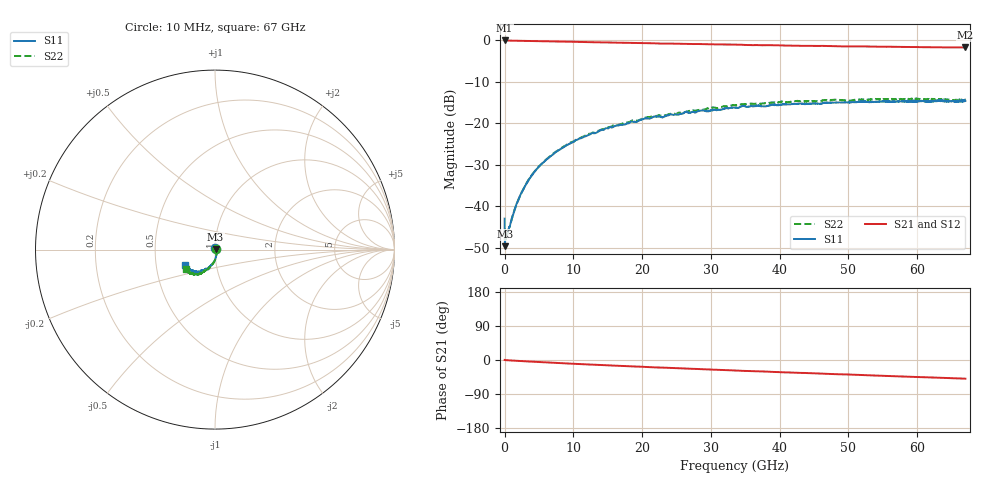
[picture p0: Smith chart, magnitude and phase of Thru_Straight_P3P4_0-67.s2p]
!Keysight Technologies,N5247B,MY61256062,A.16.20.04
!Date: Saturday, November 29, 2025 07:34:26
!Correction: S11(C  2-Port  )
!S21(C  2-Port  )
!S12(C  2-Port  )
!S22(C  2-Port  )
!S2P File: Measurements: S11, S21, S12, S22:
# Hz S  dB  R 50
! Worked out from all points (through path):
!   1601 points, 10 MHz to 67 GHz, reference 50 ohm
!   highest |S21| = -0.02 dB at 10 MHz (marker M1); lowest = -1.7 dB at 67 GHz (marker M2)
!   group delay of S21, straight-line fit = 1.97 ps
!   lowest |S11| = -49.6 dB at 51.87 MHz (marker M3), VSWR 1.01, Z = 50.3 + j0.125 ohm
!   |S11| at or under -10 dB: start of sweep to end of sweep
!   |S22| runs from -48.2 to -14.0 dB; largest |S21 - S12| = 0.0085
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1e7  -42.98 92.0  -0.02 0.2  -0.02 -0.3  -45.85 50.7
5.186875e7  -49.63 22.0  -0.04 -0.2  -0.04 -0.2  -47.69 13.1
3.868188e8  -46.81 -4.6  -0.05 -0.6  -0.05 -0.6  -46.57 -4.9
1.391669e9  -41.30 -36.5  -0.09 -1.8  -0.09 -1.8  -41.12 -36.3
2.103438e9  -38.10 -50.0  -0.11 -2.5  -0.11 -2.5  -38.02 -49.9
3.192025e9  -34.58 -63.0  -0.15 -3.6  -0.14 -3.6  -34.43 -62.4
4.280612e9  -31.89 -70.8  -0.18 -4.7  -0.18 -4.7  -31.77 -70.7
5.411069e9  -29.77 -76.9  -0.21 -5.8  -0.21 -5.8  -29.76 -76.6
7.169556e9  -27.33 -83.7  -0.26 -7.4  -0.26 -7.4  -27.17 -83.5
9.304862e9  -25.05 -89.9  -0.33 -9.3  -0.33 -9.3  -24.89 -89.6
1.118896e10  -23.57 -95.0  -0.39 -10.9  -0.39 -10.9  -23.39 -94.4
1.596199e10  -20.71 -104.1  -0.54 -14.9  -0.54 -14.9  -20.38 -104.2
2.031634e10  -18.92 -110.1  -0.66 -18.3  -0.66 -18.3  -18.62 -109.5
2.236791e10  -18.35 -115.0  -0.76 -19.8  -0.76 -19.8  -18.06 -114.2
2.303781e10  -18.51 -114.9  -0.77 -20.1  -0.77 -20.1  -18.21 -114.7
2.638731e10  -17.25 -119.2  -0.85 -22.7  -0.85 -22.7  -17.24 -116.6
3.3505e10  -16.24 -126.8  -1.04 -27.7  -1.04 -27.7  -15.63 -124.6
3.467732e10  -15.80 -127.5  -1.07 -28.7  -1.07 -28.7  -15.38 -125.6
4.468396e10  -15.25 -137.4  -1.34 -34.9  -1.34 -34.9  -14.67 -135.4
4.811719e10  -14.98 -139.5  -1.41 -37.4  -1.41 -37.3  -14.30 -136.3
5.586291e10  -14.69 -145.9  -1.55 -42.1  -1.55 -42.0  -14.29 -140.5
6.7e10  -14.59 -153.5  -1.71 -49.2  -1.71 -49.3  -14.35 -146.2
